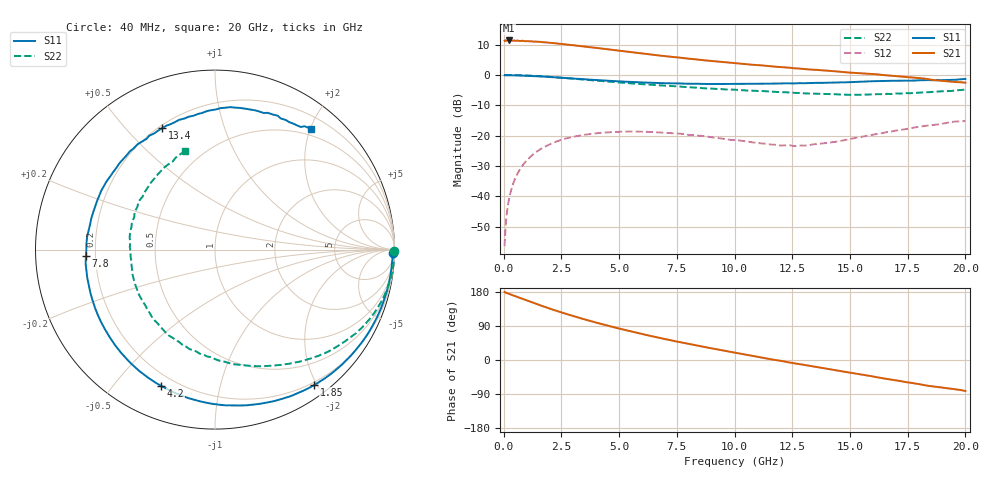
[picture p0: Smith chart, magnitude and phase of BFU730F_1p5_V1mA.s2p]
! Filename:  P:\Prog\Test\Noise\ATS_data\Testdata_Net\Split files Spar\BFU730_2W_B1_Bias1_1.5V_1mA_30mA_D.s2p
! Date/Time: Fri 29/Apr/2011 14:16:34
! BFU730_2W_B1_Bias1_1.5V_1mA_30mA_R.s2p
! MDIF S-parameter v. bias file
! BFU730_2W_B1_1.5V_1mA_30mA
! Date/time Thu Mar 17 13:45:32 2011
! bias mode 1
! bias variable = I_out
! VAR bias_var= 1
! VAR V_out= 1.5001
! VAR I_out= 1.0350
! VAR V_in= 0.7495
! VAR I_in= 0.0029
! Device data file deembeded for feedlines and parallel
! Original file: \Split files Spar\BFU730_2W_B1_Bias1_1.5V_1mA_30mA_R.s2p
! Feed-files: PR003V01_101208_Feed1.s2p, PR003V01_101208_Feed2.s2p
! Parallel-file: PR003V01_101208_Par.s2p
# MHz S MA R 50
!  Freq-MHz  S11-mag  S11-arg  S21-mag  S21-arg  S12-mag  S12-arg  S22-mag  S22-arg
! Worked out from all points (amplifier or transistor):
!   167 points, 40 MHz to 20 GHz, reference 50 ohm
!   highest |S21| = 11.4 dB at 240 MHz (marker M1)
!   |S21| within 3 dB of that: start of sweep to 4.584 GHz
!   unconditionally stable (mu >= 1): 9.498 GHz to 17.86 GHz
!   at 550 MHz: K = 0.01, MSG = 22.3 dB, |S12| = -33.3 dB
!   at 4.2 GHz: K = 0.28, MSG = 13.9 dB, |S12| = -19.1 dB
!   at 20 GHz: K = 0.77, MSG = 6.3 dB, |S12| = -15.2 dB
!   S11 on the Smith chart (normalised r, x): 40 MHz: 37, -75; 1.85 GHz: 0.16, -1.96; 4.2 GHz: 0.15, -0.67; 7.8 GHz: 0.16, -0.02; 13.4 GHz: 0.21, +0.63; 20 GHz: 0.39, +2.01
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40  0.9895 -1.2  3.686 179.4  0.001502 87.6  0.9996 -0.6
80  0.9894 -2.4  3.697 178.2  0.00304 89.2  0.9998 -1.1
120  0.9892 -3.6  3.68 177.3  0.004601 88.5  0.9995 -1.6
240  0.9883 -7.2  3.708 174.4  0.009355 86.6  0.999 -3.4
480  0.9848 -14.3  3.685 168.8  0.01896 82.0  0.9961 -6.7
800  0.9769 -23.8  3.666 161.5  0.03148 75.4  0.9879 -11.2
1400  0.9556 -41.1  3.55 148.2  0.05325 63.6  0.9636 -19.3
1850  0.9352 -53.8  3.436 138.6  0.06759 55.3  0.9403 -25.1
2500  0.9001 -71.2  3.248 125.6  0.08544 44.0  0.8996 -32.9
3400  0.854 -93.4  2.978 109.1  0.1017 29.8  0.845 -42.7
4200  0.8166 -111.5  2.736 95.6  0.111 18.8  0.7958 -50.6
4900  0.7888 -126.2  2.536 84.5  0.1153 10.0  0.7575 -57.1
5600  0.7638 -139.9  2.356 74.0  0.1166 2.0  0.7227 -63.5
6800  0.7345 -161.1  2.08 57.7  0.1125 -9.8  0.6723 -74.0
7800  0.7199 -177.2  1.894 44.8  0.1063 -17.7  0.635 -83.4
8800  0.7098 168.3  1.728 32.9  0.0964 -23.3  0.5993 -92.4
10200  0.7133 149.9  1.547 17.0  0.08316 -26.1  0.5633 -106.8
11600  0.7199 133.2  1.389 1.7  0.071 -23.9  0.5304 -123.5
13400  0.7377 113.7  1.225 -16.8  0.07181 -10.3  0.4938 -146.8
14600  0.7544 101.3  1.127 -29.4  0.0819 -4.1  0.4757 -165.6
16800  0.8014 80.1  0.9682 -51.7  0.1171 -6.3  0.4845 158.3
20000  0.8591 51.6  0.7461 -81.7  0.1737 -26.5  0.5732 107.0
